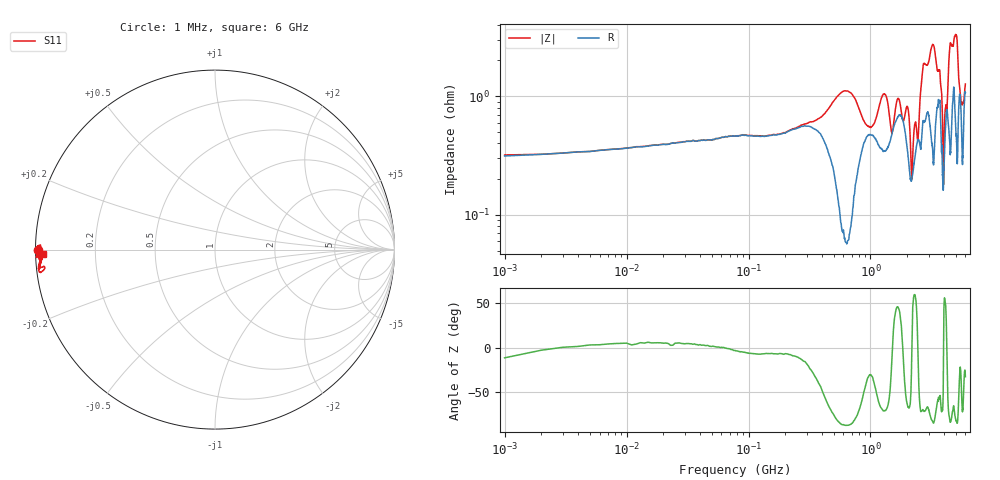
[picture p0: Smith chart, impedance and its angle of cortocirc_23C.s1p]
! COPPER MOUNTAIN TECHNOLOGIES, R60, 23103002, 24.3.3/3.0
! Date: 23/10/2026 13:19:25
! Data: Format [Calibration Info]
! Frequency		S11: Re/Im RO
# HZ S RI R 50
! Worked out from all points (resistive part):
!   1280 points, 1 MHz to 6 GHz, reference 50 ohm
!   read as one part to ground: R = 354 mohm at 7 MHz
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1000000  -0.9875 -0.00249
2.8e8  -0.978 -0.0057
5.9e8  -0.9961 -0.0435
7.55e8  -0.992 -0.0362
1e9  -0.9812 -0.011
1.32e9  -0.9854 -0.0382
1.505e9  -0.9806 -0.00227
1.7e9  -0.9729 0.0257
2.015e9  -0.986 -0.029
2.255e9  -0.9899 0.0147
2.385e9  -0.9848 0.0145
2.72e9  -0.973 -0.069
3.005e9  -0.9701 -0.0713
3.275e9  -0.9832 -0.1061
3.53e9  -0.967 -0.0555
3.755e9  -0.9736 -0.0432
3.94e9  -0.9934 -0.00989
4.05e9  -0.986 0.0198
4.145e9  -0.9764 0.023
4.505e9  -0.9811 -0.109
4.825e9  -0.9483 -0.1011
4.955e9  -0.9656 -0.1238
5.075e9  -0.9756 -0.1257
5.14e9  -0.9828 -0.1131
5.255e9  -0.9727 -0.0583
5.44e9  -0.961 -0.0154
5.685e9  -0.9878 -0.0321
6e9  -0.9578 -0.0261
